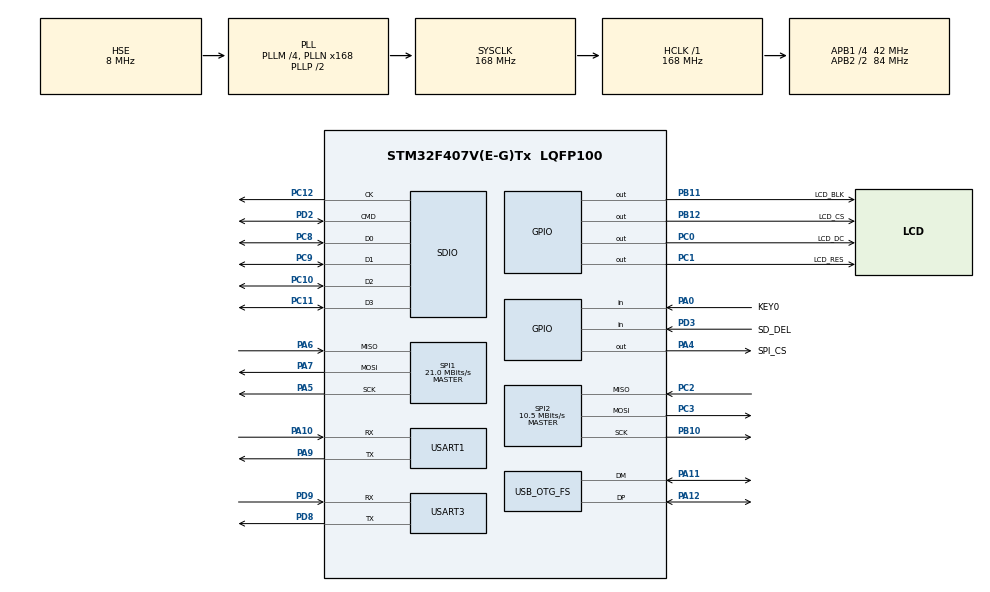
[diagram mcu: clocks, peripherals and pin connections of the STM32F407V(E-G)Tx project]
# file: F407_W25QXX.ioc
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Dma.Request0=SDIO_TX
Dma.Request1=SDIO_RX
Dma.Request2=SPI2_TX
Dma.SDIO_RX.1.Direction=DMA_PERIPH_TO_MEMORY
Dma.SDIO_RX.1.FIFOMode=DMA_FIFOMODE_ENABLE
Dma.SDIO_RX.1.FIFOThreshold=DMA_FIFO_THRESHOLD_FULL
Dma.SDIO_RX.1.Instance=DMA2_Stream6
Dma.SDIO_RX.1.MemBurst=DMA_MBURST_INC4
Dma.SDIO_RX.1.MemDataAlignment=DMA_MDATAALIGN_WORD
Dma.SDIO_RX.1.MemInc=DMA_MINC_ENABLE
Dma.SDIO_RX.1.Mode=DMA_PFCTRL
Dma.SDIO_RX.1.PeriphBurst=DMA_PBURST_INC4
Dma.SDIO_RX.1.PeriphDataAlignment=DMA_PDATAALIGN_WORD
Dma.SDIO_RX.1.PeriphInc=DMA_PINC_DISABLE
Dma.SDIO_RX.1.Priority=DMA_PRIORITY_HIGH
Dma.SDIO_TX.0.Direction=DMA_MEMORY_TO_PERIPH
Dma.SDIO_TX.0.FIFOMode=DMA_FIFOMODE_ENABLE
Dma.SDIO_TX.0.FIFOThreshold=DMA_FIFO_THRESHOLD_FULL
Dma.SDIO_TX.0.Instance=DMA2_Stream3
Dma.SDIO_TX.0.MemBurst=DMA_MBURST_INC4
Dma.SDIO_TX.0.MemDataAlignment=DMA_MDATAALIGN_WORD
Dma.SDIO_TX.0.MemInc=DMA_MINC_ENABLE
Dma.SDIO_TX.0.Mode=DMA_PFCTRL
Dma.SDIO_TX.0.PeriphBurst=DMA_PBURST_INC4
Dma.SDIO_TX.0.PeriphDataAlignment=DMA_PDATAALIGN_WORD
Dma.SDIO_TX.0.PeriphInc=DMA_PINC_DISABLE
Dma.SDIO_TX.0.Priority=DMA_PRIORITY_HIGH
Dma.SPI2_TX.2.Direction=DMA_MEMORY_TO_PERIPH
Dma.SPI2_TX.2.FIFOMode=DMA_FIFOMODE_DISABLE
Dma.SPI2_TX.2.Instance=DMA1_Stream4
Dma.SPI2_TX.2.MemDataAlignment=DMA_MDATAALIGN_BYTE
Dma.SPI2_TX.2.MemInc=DMA_MINC_ENABLE
Dma.SPI2_TX.2.Mode=DMA_NORMAL
Dma.SPI2_TX.2.PeriphDataAlignment=DMA_PDATAALIGN_BYTE
Dma.SPI2_TX.2.PeriphInc=DMA_PINC_DISABLE
Dma.SPI2_TX.2.Priority=DMA_PRIORITY_MEDIUM
FATFS.BSP.number=1
FATFS0.BSP.STBoard=false
FATFS0.BSP.api=Unknown
FATFS0.BSP.instance=PD3
FATFS0.BSP.ip=GPIO
FATFS0.BSP.mode=Input
FATFS0.BSP.name=Detect_SDIO
FATFS0.BSP.solution=PD3
Mcu.Family=STM32F4
Mcu.Name=STM32F407V(E-G)Tx
Mcu.Package=LQFP100
NVIC.DMA1_Stream4_IRQn=true\:0\:0\:false\:false\:true\:false\:true\:true
NVIC.DMA2_Stream3_IRQn=true\:0\:0\:false\:false\:true\:false\:true\:true
NVIC.DMA2_Stream6_IRQn=true\:0\:0\:false\:false\:true\:false\:true\:true
NVIC.OTG_FS_IRQn=true\:0\:0\:false\:false\:true\:true\:true\:true
NVIC.PriorityGroup=NVIC_PRIORITYGROUP_4
NVIC.SDIO_IRQn=true\:0\:0\:false\:false\:true\:true\:true\:true
NVIC.SPI2_IRQn=true\:0\:0\:false\:false\:true\:true\:true\:true
NVIC.TIM3_IRQn=true\:0\:0\:false\:false\:true\:true\:true\:true
NVIC.USART3_IRQn=true\:0\:0\:false\:false\:true\:true\:true\:true
PA0-WKUP.GPIO_Label=KEY0
PA0-WKUP.Signal=GPIO_Input
PA10.Mode=Asynchronous
PA10.Signal=USART1_RX
PA11.Mode=Device_Only
PA11.Signal=USB_OTG_FS_DM
PA12.Mode=Device_Only
PA12.Signal=USB_OTG_FS_DP
PA13.Mode=Serial_Wire
PA13.Signal=SYS_JTMS-SWDIO
PA14.Mode=Serial_Wire
PA14.Signal=SYS_JTCK-SWCLK
PA4.GPIO_Label=SPI_CS
PA4.GPIO_ModeDefaultOutputPP=GPIO_MODE_OUTPUT_PP
PA4.GPIO_Speed=GPIO_SPEED_FREQ_VERY_HIGH
PA4.PinState=GPIO_PIN_SET
PA4.Signal=GPIO_Output
PA5.Mode=Full_Duplex_Master
PA5.Signal=SPI1_SCK
PA6.Mode=Full_Duplex_Master
PA6.Signal=SPI1_MISO
PA7.Mode=Full_Duplex_Master
PA7.Signal=SPI1_MOSI
PA9.Mode=Asynchronous
PA9.Signal=USART1_TX
PB10.Mode=Full_Duplex_Master
PB10.Signal=SPI2_SCK
PB11.GPIO_Label=LCD_BLK
PB11.GPIO_ModeDefaultOutputPP=GPIO_MODE_OUTPUT_PP
PB11.GPIO_PuPd=GPIO_NOPULL
PB11.GPIO_Speed=GPIO_SPEED_FREQ_LOW
PB11.Signal=GPIO_Output
PB12.GPIO_Label=LCD_CS
PB12.GPIO_ModeDefaultOutputPP=GPIO_MODE_OUTPUT_PP
PB12.GPIO_PuPd=GPIO_NOPULL
PB12.GPIO_Speed=GPIO_SPEED_FREQ_LOW
PB12.PinState=GPIO_PIN_RESET
PB12.Signal=GPIO_Output
PC0.GPIO_Label=LCD_DC
PC0.GPIO_ModeDefaultOutputPP=GPIO_MODE_OUTPUT_PP
PC0.GPIO_PuPd=GPIO_NOPULL
PC0.GPIO_Speed=GPIO_SPEED_FREQ_LOW
PC0.Signal=GPIO_Output
PC1.GPIO_Label=LCD_RES
PC1.GPIO_ModeDefaultOutputPP=GPIO_MODE_OUTPUT_PP
PC1.GPIO_PuPd=GPIO_NOPULL
PC1.GPIO_Speed=GPIO_SPEED_FREQ_LOW
PC1.Signal=GPIO_Output
PC10.Mode=SD_4_bits_Wide_bus
PC10.Signal=SDIO_D2
PC11.Mode=SD_4_bits_Wide_bus
PC11.Signal=SDIO_D3
PC12.Mode=SD_4_bits_Wide_bus
PC12.Signal=SDIO_CK
PC2.Mode=Full_Duplex_Master
PC2.Signal=SPI2_MISO
PC3.Mode=Full_Duplex_Master
PC3.Signal=SPI2_MOSI
PC8.Mode=SD_4_bits_Wide_bus
PC8.Signal=SDIO_D0
PC9.Mode=SD_4_bits_Wide_bus
PC9.Signal=SDIO_D1
PD2.Mode=SD_4_bits_Wide_bus
PD2.Signal=SDIO_CMD
PD3.GPIO_Label=SD_DEL
PD3.Signal=GPIO_Input
PD8.Mode=Asynchronous
PD8.Signal=USART3_TX
PD9.Mode=Asynchronous
PD9.Signal=USART3_RX
PH0-OSC_IN.Mode=HSE-External-Oscillator
PH0-OSC_IN.Signal=RCC_OSC_IN
PH1-OSC_OUT.Mode=HSE-External-Oscillator
PH1-OSC_OUT.Signal=RCC_OSC_OUT
ProjectManager.HeapSize=0x200
ProjectManager.StackSize=0x400
ProjectManager.TargetToolchain=MDK-ARM V5.32
RCC.48MHZClocksFreq_Value=48000000
RCC.AHBFreq_Value=168000000
RCC.APB1CLKDivider=RCC_HCLK_DIV4
RCC.APB1Freq_Value=42000000
RCC.APB1TimFreq_Value=84000000
RCC.APB2CLKDivider=RCC_HCLK_DIV2
RCC.APB2Freq_Value=84000000
RCC.APB2TimFreq_Value=168000000
RCC.CortexFreq_Value=168000000
RCC.HCLKFreq_Value=168000000
RCC.HSE_VALUE=8000000
RCC.HSI_VALUE=16000000
RCC.LSE_VALUE=32768
RCC.PLLM=4
RCC.PLLN=168
RCC.PLLQ=7
RCC.SYSCLKFreq_VALUE=168000000
RCC.SYSCLKSource=RCC_SYSCLKSOURCE_PLLCLK
RCC.VCOOutputFreq_Value=336000000
SDIO.ClockDiv=10
SPI1.BaudRatePrescaler=SPI_BAUDRATEPRESCALER_4
SPI1.CalculateBaudRate=21.0 MBits/s
SPI1.Direction=SPI_DIRECTION_2LINES
SPI1.Mode=SPI_MODE_MASTER
SPI1.VirtualType=VM_MASTER
SPI2.BaudRatePrescaler=SPI_BAUDRATEPRESCALER_4
SPI2.CalculateBaudRate=10.5 MBits/s
SPI2.Direction=SPI_DIRECTION_2LINES
SPI2.Mode=SPI_MODE_MASTER
SPI2.VirtualType=VM_MASTER
TIM3.Period=10000
TIM3.Prescaler=7199
USART1.VirtualMode=VM_ASYNC
USART3.VirtualMode=VM_ASYNC
USB_OTG_FS.VirtualMode=Device_Only
VP_FATFS_VS_SDIO.Mode=SDIO
VP_TIM3_VS_ClockSourceINT.Mode=Internal
board=custom

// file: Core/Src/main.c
/* USER CODE BEGIN Header */
/**
 ******************************************************************************
 * @file           : main.c
 * @brief          : Main program body
 ******************************************************************************
 * @attention
 *
 * Copyright (c) 2024 STMicroelectronics.
 * All rights reserved.
 *
 * This software is licensed under terms that can be found in the LICENSE file
 * in the root directory of this software component.
 * If no LICENSE file comes with this software, it is provided AS-IS.
 *
 ******************************************************************************
 */
/* USER CODE END Header */
#include "main.h"
#include "dma.h"
#include "fatfs.h"
#include "sdio.h"
#include "spi.h"
#include "tim.h"
#include "usart.h"
#include "usb_otg.h"
#include "gpio.h"

/* USER CODE BEGIN Includes */
#include "lcd.h"
#include "fonts.h"
#include "pic.h"
#include "sdio_sdcard.h"
#include "w25qxx.h"
#include "modbus_slave.h"
/* USER CODE END Includes */

/* USER CODE BEGIN PTD */
SPIF_HandleTypeDef hSPIF;
FATFS fs;    // 文件系统对象
FIL file;    // 文件对象
FRESULT res; // 文件操作结果
/* USER CODE END PTD */

/* USER CODE BEGIN PD */
#define Size 2048
uint8_t WriteBuf[Size] = {"This write data ok"};
uint8_t ReadBuf[Size]  = {"This read data ok"};
/* USER CODE END PD */

/* USER CODE BEGIN PM */
volatile uint8_t keyVal      = 0;
volatile uint8_t key_pressed = 0;

/* USER CODE END PM */

void SystemClock_Config(void);
/* USER CODE BEGIN PFP */
void delay_us(uint32_t nus);
void delay_us(uint32_t udelay);
void w25qxx_test(void);
void show_sdcard_info(void);
void sd_test_write(uint32_t secaddr, uint32_t seccnt);
void sdFatfs_test(void);
/* USER CODE END PFP */

/* USER CODE BEGIN 0 */
// 按键中断处理函数
void HAL_GPIO_EXTI_Callback(uint16_t GPIO_Pin)
{
    if (GPIO_Pin == KEY0_Pin) {
        // 防抖延时
        HAL_Delay(50);

        if (HAL_GPIO_ReadPin(KEY0_GPIO_Port, GPIO_PIN_0) == GPIO_PIN_SET) {
            keyVal++;
            key_pressed = 1;
        }
    }
}
/* USER CODE END 0 */

int main(void)
{

  /* MCU Configuration--------------------------------------------------------*/

  /* Reset of all peripherals, Initializes the Flash interface and the Systick. */
  HAL_Init();

  /* Configure the system clock */
  SystemClock_Config();

  /* Initialize all configured peripherals */
  MX_GPIO_Init();
  MX_DMA_Init();
  MX_SPI1_Init();
  MX_SPI2_Init();
  MX_TIM3_Init();
  MX_SDIO_SD_Init();
  MX_FATFS_Init();
  MX_USART1_UART_Init();
  MX_USB_OTG_FS_PCD_Init();
  MX_USART3_UART_Init();
  /* USER CODE BEGIN 2 */
    SPIF_Init(&hSPIF, &hspi1, SPI_CS_GPIO_Port, SPI_CS_Pin);
    SD_Driver.disk_initialize(0);
    ST7735_Init();
    ST7735_Backlight_On();
    ST7735_FillScreen(ST7735_WHITE);
  /* USER CODE END 2 */

  /* Infinite loop */
  /* USER CODE BEGIN WHILE */

    while (sd_init()) {
        printf("check SD error\r\n");
    }

    show_sdcard_info();
    sdFatfs_test();

    while (1) {
    /* USER CODE END WHILE */

    /* USER CODE BEGIN 3 */
        ST7735_DrawString(2, 2, "hello lcd", Font_7x10, ST7735_RED, ST7735_WHITE);
    }

  /* USER CODE END 3 */
}

void SystemClock_Config(void)
{
  RCC_OscInitTypeDef RCC_OscInitStruct = {0};
  RCC_ClkInitTypeDef RCC_ClkInitStruct = {0};

  /** Configure the main internal regulator output voltage
  */
  __HAL_RCC_PWR_CLK_ENABLE();
  __HAL_PWR_VOLTAGESCALING_CONFIG(PWR_REGULATOR_VOLTAGE_SCALE1);

  /** Initializes the RCC Oscillators according to the specified parameters
  * in the RCC_OscInitTypeDef structure.
  */
  RCC_OscInitStruct.OscillatorType = RCC_OSCILLATORTYPE_HSE;
  RCC_OscInitStruct.HSEState = RCC_HSE_ON;
  RCC_OscInitStruct.PLL.PLLState = RCC_PLL_ON;
  RCC_OscInitStruct.PLL.PLLSource = RCC_PLLSOURCE_HSE;
  RCC_OscInitStruct.PLL.PLLM = 4;
  RCC_OscInitStruct.PLL.PLLN = 168;
  RCC_OscInitStruct.PLL.PLLP = RCC_PLLP_DIV2;
  RCC_OscInitStruct.PLL.PLLQ = 7;
  if (HAL_RCC_OscConfig(&RCC_OscInitStruct) != HAL_OK)
  {
    Error_Handler();
  }

  /** Initializes the CPU, AHB and APB buses clocks
  */
  RCC_ClkInitStruct.ClockType = RCC_CLOCKTYPE_HCLK|RCC_CLOCKTYPE_SYSCLK
                              |RCC_CLOCKTYPE_PCLK1|RCC_CLOCKTYPE_PCLK2;
  RCC_ClkInitStruct.SYSCLKSource = RCC_SYSCLKSOURCE_PLLCLK;
  RCC_ClkInitStruct.AHBCLKDivider = RCC_SYSCLK_DIV1;
  RCC_ClkInitStruct.APB1CLKDivider = RCC_HCLK_DIV4;
  RCC_ClkInitStruct.APB2CLKDivider = RCC_HCLK_DIV2;

  if (HAL_RCC_ClockConfig(&RCC_ClkInitStruct, FLASH_LATENCY_5) != HAL_OK)
  {
    Error_Handler();
  }
}

/* USER CODE BEGIN 4 */
void delay_us(uint32_t us)
{
    uint32_t startTick  = SysTick->VAL;
    uint32_t delayTicks = (SystemCoreClock / 1000000) * us;
    while ((SysTick->VAL - startTick) < delayTicks) {
        // 空循环，等待SysTick递减
    }
}

void w25qxx_test(void)
{
    if (SPIF_Init(&hSPIF, &hspi1, SPI_CS_GPIO_Port, SPI_CS_Pin) == 1) {
        printf("w25q128 init success\r\n");
    } else {
        printf("w25q128 init error\r\n");
    }

    // 定义测试数据
    uint8_t writeData[256] = {0}; // 写入数据的缓冲区
    uint8_t readData[256]  = {0}; // 读取数据的缓冲区

    for (int i = 0; i < sizeof(writeData); ++i) {
        writeData[i] = i; // 用一些测试数据填充写入缓冲区
    }

    // 擦除 Flash 部分
    if (!SPIF_EraseSector(&hSPIF, 0)) {
        // 擦除失败
        printf("擦除 Flash失败\r\n  ");
    }

    // 写入数据Flash
    if (!SPIF_WriteAddress(&hSPIF, 0, writeData, sizeof(writeData))) {
        // 写入失败
        printf("写入 Flash失败\r\n  ");
    }

    //  Flash 读取数据
    if (!SPIF_ReadAddress(&hSPIF, 0, readData, sizeof(readData))) {
        // 读取失败
        printf("读取 Flash失败\r\n  ");
    }

    for (int i = 0; i < sizeof(readData); ++i) {
        printf("data:%d ", readData[i]);
    }

    // 验证数据
    for (int i = 0; i < sizeof(writeData); ++i) {
        if (readData[i] != writeData[i]) {

            printf("数据不一致\r\n  ");
        }
    }
}

void show_sdcard_info(void)
{
    HAL_SD_CardCIDTypeDef sd_card_cid;

    HAL_SD_GetCardCID(&g_sdcard_handler, &sd_card_cid); /* 获取CID */
    get_sd_card_info(&g_sd_card_info_handle);           /* 获取SD卡信�? */

    switch (g_sd_card_info_handle.CardType) {
        case CARD_SDSC: {
            if (g_sd_card_info_handle.CardVersion == CARD_V1_X) {
                printf("Card Type:SDSC V1\r\n");
            } else if (g_sd_card_info_handle.CardVersion == CARD_V2_X) {
                printf("Card Type:SDSC V2\r\n");
            }
        } break;

        case CARD_SDHC_SDXC:
            printf("Card Type:SDHC\r\n");
            break;

        default:
            break;
    }

    printf("Card ManufacturerID:%d\r\n", sd_card_cid.ManufacturerID);                 /* 制造商ID */
    printf("Card RCA:%d\r\n", g_sd_card_info_handle.RelCardAdd);                      /* 卡相对地址 */
    printf("LogBlockNbr:%d \r\n", (uint32_t)(g_sd_card_info_handle.LogBlockNbr));     /* 显示逻辑块数 */
    printf("LogBlockSize:%d \r\n", (uint32_t)(g_sd_card_info_handle.LogBlockSize));   /* 显示逻辑块大*/
    printf("Card Capacity:%d MB\r\n", (uint32_t)SD_TOTAL_SIZE_MB(&g_sdcard_handler)); /* 显示容量 */
    printf("Card BlockSize:%d\r\n\r\n", g_sd_card_info_handle.BlockSize);             /* 显示块大小*/
}

void sdFatfs_test(void)
{
    FRESULT mount_res = f_mount(&fs, "0:", 1);
    if (mount_res != FR_OK) {
        printf("fatfs mount error: %d\n", mount_res);
    }
    res = f_open(&file, "0:/test.txt", FA_READ);
    if (res != FR_OK) {
        printf("fatfs open error: %d\n", res);
    }
    UINT br;
    char buffer[16];
    f_read(&file, buffer, sizeof(buffer), &br);
    printf("读取到的数据: %s\n", buffer);
    f_close(&file);
}

void sd_test_write(uint32_t secaddr, uint32_t seccnt)
{
    uint32_t i;
    uint8_t *buf;
    uint8_t sta = 0;

    buf = WriteBuf;

    for (i = 0; i < seccnt * 512; i++) {
        buf[i] = i * 3;
    }

    sta = sd_write_disk(buf, secaddr, seccnt);

    if (sta == 0) {
        printf("Write over!\r\n");
    } else {
        printf("err:%d\r\n", sta);
    }
}

/* USER CODE END 4 */

void Error_Handler(void)
{
    __disable_irq();
    while (1) {
    }
}
